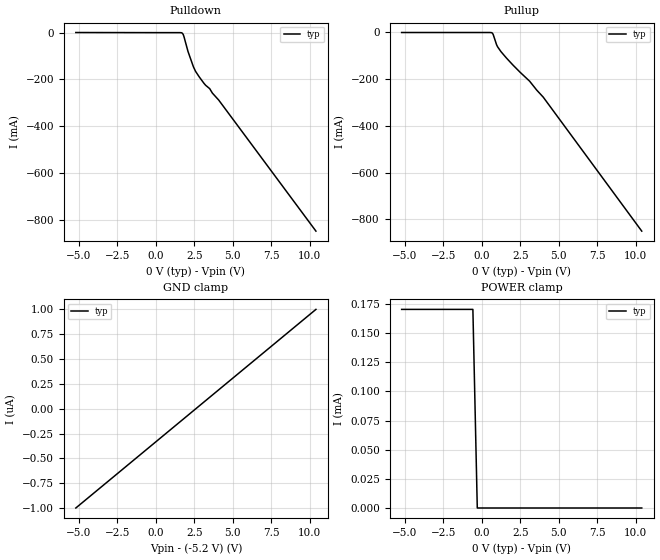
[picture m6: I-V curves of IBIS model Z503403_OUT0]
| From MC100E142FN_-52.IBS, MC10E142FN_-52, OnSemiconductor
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| (C) COPYRIGHT 1993-2000
| MENTOR GRAPHICS CORPORATION
| ICX STANDARD LIBRARY, ICX PROJECT MODELING,
| ICX CUSTOM MODELING, ICX VENDOR MODEL
| ALL RIGHTS RESERVED.
| THE FOLLOWING ARE TRADEMARKS OR SERVICE MARKS OF
| MENTOR GRAPHICS CORPORATION:ICX (R), ICX STANDARD
| LIBRARY(R), ICX PROJECT MODELING(R), ICX CUSTOM
| MODELING(R), qualityIBIS(TM), MODELVIEWER(TM),
| AND MODELEDITOR(TM)
| ALL COPIES OF SOFTWARE, INCLUDING BUT NOT LIMITED TO
| ANY MODIFICATIONS, ENHANCEMENTS OR DERIVATIVE WORKS,
| MUST CONTAIN ALL MENTOR GRAPHICS CORPORATION'S
| NOTICES AND LEGENDS, INCLUDING THOSE EMBEDDED IN
| SOFTWARE AND THOSE AFFIXED TO SOFTWARE MEDIUM
| AND CONTAINER, AS RECEIVED FROM MENTOR GRAPHICS
| CORPORATION.
| Model Application Version 1.89 2/18/99.
[Model] Z503403_OUT0
Model_type Output_ECL
Vref=-2.000V
Rref=50.00ohms
Cref=0.000F
Vmeas=-1.305V
C_comp 8.000pF NA NA
| variable typ   min   max
[Voltage Range] -5.200V NA NA
[POWER Clamp Reference] 0.000V NA NA
[Pullup Reference] 0.000V NA NA
[Pulldown Reference] 0.000V NA NA
[GND Clamp Reference] -5.200V NA NA
[GND Clamp]
-5.2V     -1uA       NA         NA
10.4V     1uA        NA         NA
[Pulldown]
-5.2V     547.5uA    NA         NA
1.719V    -2.261mA   NA         NA
1.826V    -17.14mA   NA         NA
2.09V     -80.93mA   NA         NA
2.439V    -146mA     NA         NA
2.578V    -165.4mA   NA         NA
2.812V    -188.7mA   NA         NA
3.121V    -216.4mA   NA         NA
3.496V    -239.4mA   NA         NA
3.674V    -258.7mA   NA         NA
4.082V    -288.2mA   NA         NA
10.4V     -848.7mA   NA         NA
[Pullup]
-5.2V     -74.1uA    NA         NA
683.4mV   -2.213mA   NA         NA
756.8mV   -10.19mA   NA         NA
967mV     -52.23mA   NA         NA
1.252V    -81.86mA   NA         NA
2.028V    -139.1mA   NA         NA
3.114V    -208.4mA   NA         NA
3.585V    -247.3mA   NA         NA
3.997V    -276.5mA   NA         NA
10.4V     -850.3mA   NA         NA
[POWER Clamp]
-5.2V     170.4uA    NA         NA
-571.3mV  170.4uA    NA         NA
-285.7mV  0A         NA         NA
10.4V     0A         NA         NA
[Ramp]
| variable typ min max
dV/dt_r 587.4m/312.0p NA NA
dV/dt_f 587.4m/240.3p NA NA
R_load = 500.0Ohms
